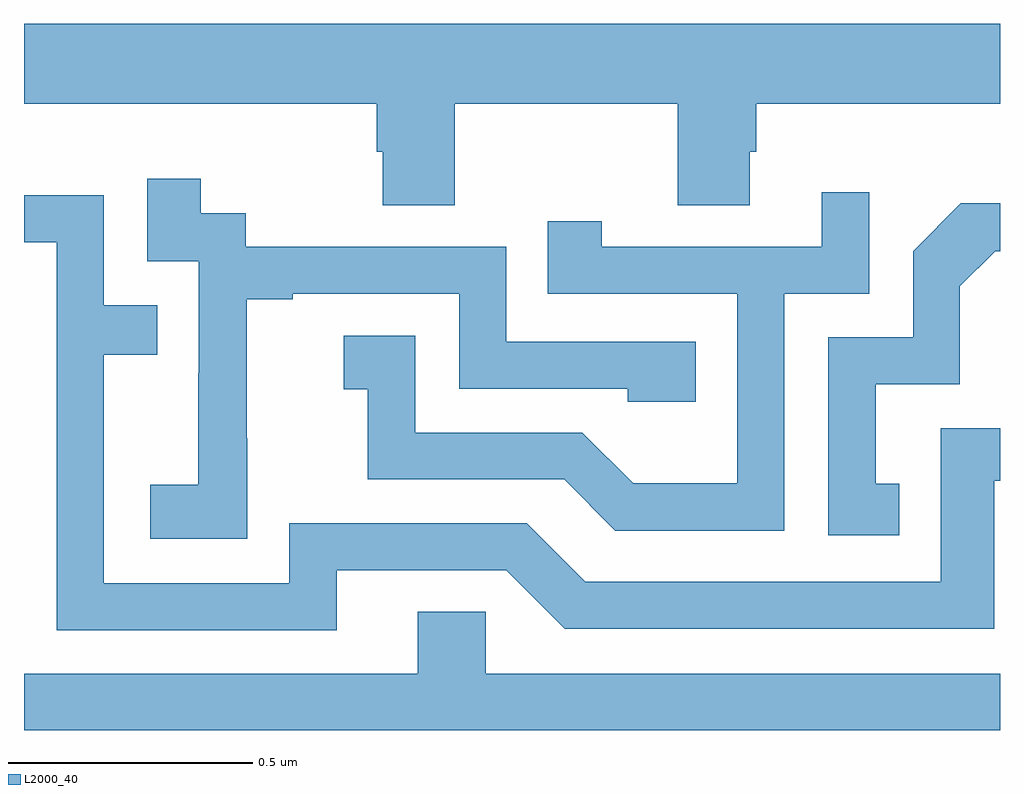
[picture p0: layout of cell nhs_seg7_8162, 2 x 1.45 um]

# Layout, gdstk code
import gdstk
lib = gdstk.Library(unit=1e-6, precision=1e-09)
def P(c, l, *ps):  # polygons
    for p in ps: c.add(gdstk.Polygon(p, *l))
L2000_40 = (2000, 40)

nhs_seg7_8162 = lib.new_cell('nhs_seg7_8162')
P(nhs_seg7_8162, L2000_40, [(221.883,999.284),(222.34,999.284),(222.34,999.076),(222.487,999.076),(222.487,999.186),(222.5,999.186),(222.5,999.284),(223,999.284),(223,999.448),(221,999.448),(221,999.284),(221.723,999.284),(221.723,999.186),(221.735,999.186),(221.735,999.076),(221.883,999.076)],
  [(221.457,998.599),(221.456,998.599),(221.456,998.883),(221.551,998.883),(221.551,998.895),(221.892,998.895),(221.892,998.7),(222.237,998.7),(222.237,998.673),(222.377,998.673),(222.377,998.796),(221.988,998.796),(221.988,998.991),(221.454,998.991),(221.454,999.06),(221.362,999.06),(221.362,999.13),(221.253,999.13),(221.253,998.961),(221.358,998.961),(221.358,998.732),(221.357,998.732),(221.357,998.503),(221.259,998.503),(221.259,998.393),(221.457,998.393)],
  [(222.558,998.895),(222.732,998.895),(222.732,999.103),(222.635,999.103),(222.635,998.991),(222.184,998.991),(222.184,999.043),(222.073,999.043),(222.073,998.895),(222.462,998.895),(222.462,998.506),(222.248,998.506),(222.144,998.61),(221.802,998.61),(221.802,998.809),(221.655,998.809),(221.655,998.699),(221.704,998.699),(221.704,998.514),(222.107,998.514),(222.212,998.409),(222.558,998.409)],
  [(221.641,998.328),(221.988,998.328),(222.108,998.208),(222.988,998.208),(222.988,998.511),(223,998.511),(223,998.619),(222.879,998.619),(222.879,998.304),(222.15,998.304),(222.03,998.424),(221.544,998.424),(221.544,998.301),(221.163,998.301),(221.163,998.77),(221.273,998.77),(221.273,998.871),(221.163,998.871),(221.163,999.096),(221,999.096),(221,999),(221.067,999),(221.067,998.205),(221.641,998.205)],
  [(222.794,998.505),(222.745,998.505),(222.745,998.709),(222.918,998.709),(222.918,998.91),(222.99,998.982),(223,998.982),(223,999.08),(222.92,999.08),(222.822,998.982),(222.822,998.805),(222.648,998.805),(222.648,998.4),(222.794,998.4)],
  [(223,998.116),(221.946,998.116),(221.946,998.243),(221.807,998.243),(221.807,998.116),(221,998.116),(221,998),(223,998)])

lib.write_gds('nhs_seg7_8162.gds')
